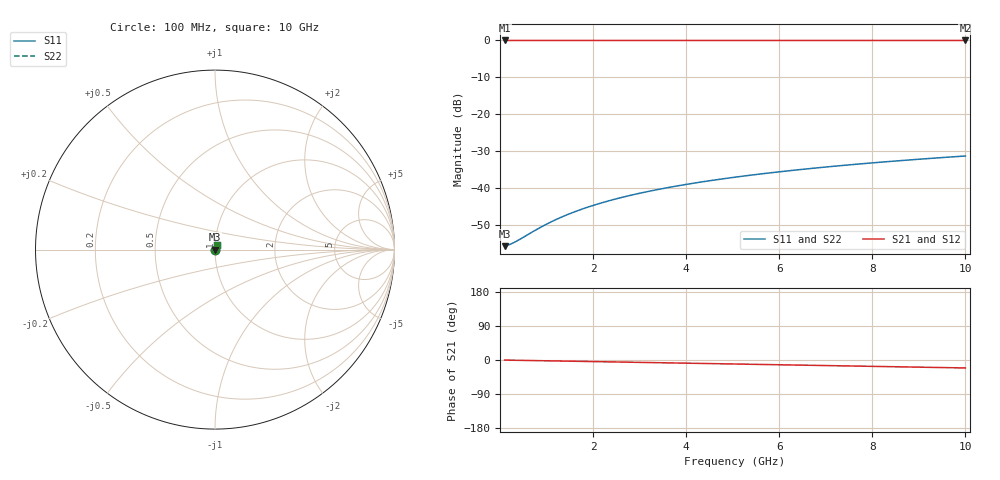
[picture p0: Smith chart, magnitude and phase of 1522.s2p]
# Hz S RI R 50.00
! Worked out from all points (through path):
!   100 points, 100 MHz to 10 GHz, reference 50 ohm
!   highest |S21| = -0.01 dB at 100 MHz (marker M1); lowest = 0.0 dB at 10 GHz (marker M2)
!   group delay of S21, straight-line fit = 5.83 ps
!   lowest |S11| = -55.8 dB at 100 MHz (marker M3), VSWR 1.00, Z = 50.2 + j0.0273 ohm
!   |S11| at or under -10 dB: start of sweep to end of sweep
!   |S22| runs from -55.8 to -31.3 dB; largest |S21 - S12| = 0
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1e8  0.0016 0.000272  0.9984 -0.00364  0.9984 -0.00364  0.0016 0.000272
2e8  0.00161 0.000544  0.9984 -0.00728  0.9984 -0.00728  0.00161 0.000544
3e8  0.00162 0.000816  0.9983 -0.0109  0.9983 -0.0109  0.00162 0.000816
4e8  0.00163 0.00109  0.9983 -0.0146  0.9983 -0.0146  0.00163 0.00109
8e8  0.00169 0.00217  0.9979 -0.0291  0.9979 -0.0291  0.00169 0.00217
1.1e9  0.00176 0.00298  0.9975 -0.04  0.9975 -0.04  0.00176 0.00298
1.4e9  0.00184 0.00379  0.997 -0.0509  0.997 -0.0509  0.00184 0.00379
1.6e9  0.0019 0.00433  0.9966 -0.0582  0.9966 -0.0582  0.0019 0.00433
1.8e9  0.00197 0.00487  0.9961 -0.0655  0.9961 -0.0655  0.00197 0.00487
2.1e9  0.00209 0.00567  0.9953 -0.0764  0.9953 -0.0764  0.00209 0.00567
2.5e9  0.00227 0.00674  0.9941 -0.0909  0.9941 -0.0909  0.00227 0.00674
2.9e9  0.00249 0.0078  0.9926 -0.1054  0.9926 -0.1054  0.00249 0.0078
3.4e9  0.0028 0.00911  0.9905 -0.1235  0.9905 -0.1235  0.0028 0.00911
3.8e9  0.00309 0.0102  0.9886 -0.138  0.9886 -0.138  0.00309 0.0102
4.2e9  0.0034 0.0112  0.9864 -0.1524  0.9864 -0.1524  0.0034 0.0112
4.6e9  0.00375 0.0122  0.9841 -0.1668  0.9841 -0.1668  0.00375 0.0122
5.1e9  0.00422 0.0135  0.9808 -0.1848  0.9808 -0.1848  0.00422 0.0135
5.9e9  0.00507 0.0154  0.9749 -0.2135  0.9749 -0.2135  0.00507 0.0154
6.7e9  0.00604 0.0174  0.9682 -0.242  0.9682 -0.242  0.00604 0.0174
7.5e9  0.00712 0.0192  0.9606 -0.2703  0.9606 -0.2703  0.00712 0.0192
8.4e9  0.00848 0.0213  0.951 -0.302  0.951 -0.302  0.00848 0.0213
1e10  0.0112 0.0247  0.9314 -0.3575  0.9314 -0.3575  0.0112 0.0247
